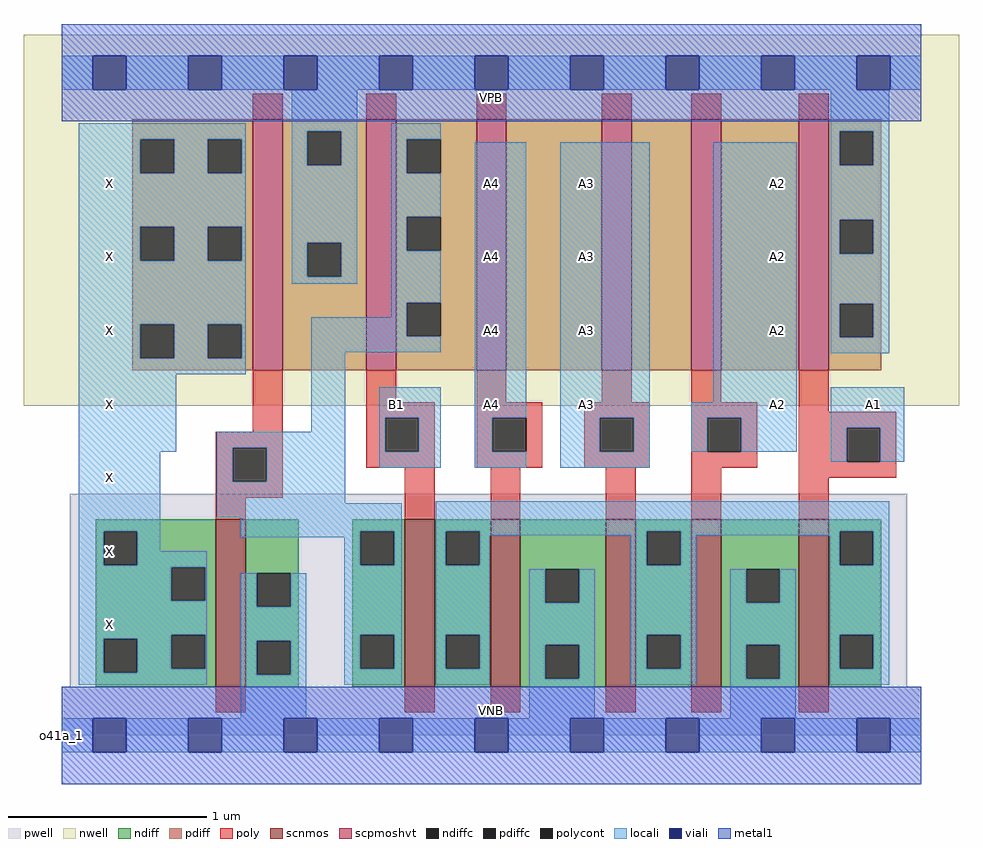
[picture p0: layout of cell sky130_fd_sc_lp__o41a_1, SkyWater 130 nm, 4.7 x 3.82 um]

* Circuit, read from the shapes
.subckt sky130_fd_sc_lp__o41a_1 A1 A2 A3 A4 B1 VGND VNB VPB VPWR X
XM1 VGND n1 X VNB sky130_fd_pr__nfet_01v8 w=0.84 l=0.15
XM2 n2 B1 n1 VNB sky130_fd_pr__nfet_01v8 w=0.84 l=0.15
XM3 VGND A4 n2 VNB sky130_fd_pr__nfet_01v8 w=0.84 l=0.15
XM4 n2 A3 VGND VNB sky130_fd_pr__nfet_01v8 w=0.84 l=0.15
XM5 VGND A2 n2 VNB sky130_fd_pr__nfet_01v8 w=0.84 l=0.15
XM6 n2 A1 VGND VNB sky130_fd_pr__nfet_01v8 w=0.84 l=0.15
XM7 VPWR n1 X VPB sky130_fd_pr__pfet_01v8_hvt w=1.26 l=0.15
XM8 n1 B1 VPWR VPB sky130_fd_pr__pfet_01v8_hvt w=1.26 l=0.15
XM9 n3 A4 n1 VPB sky130_fd_pr__pfet_01v8_hvt w=1.26 l=0.15
XM10 n4 A3 n3 VPB sky130_fd_pr__pfet_01v8_hvt w=1.26 l=0.15
XM11 n5 A2 n4 VPB sky130_fd_pr__pfet_01v8_hvt w=1.26 l=0.15
XM12 VPWR A1 n5 VPB sky130_fd_pr__pfet_01v8_hvt w=1.26 l=0.15
.ends

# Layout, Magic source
magic
tech sky130A
magscale 1 2
<< nwell >>
rect -38 331 902 704
<< pwell >>
rect 8 49 850 243
rect 0 0 864 49
<< scnmos >>
rect 155 49 185 217
rect 345 49 375 217
rect 431 49 461 217
rect 547 49 577 217
rect 633 49 663 217
rect 741 49 771 217
<< scpmoshvt >>
rect 192 367 222 619
rect 306 367 336 619
rect 417 367 447 619
rect 543 367 573 619
rect 633 367 663 619
rect 741 367 771 619
<< ndiff >>
rect 34 205 155 217
rect 34 171 42 205
rect 76 171 155 205
rect 34 169 155 171
rect 34 135 110 169
rect 144 135 155 169
rect 34 101 155 135
rect 34 97 110 101
rect 34 63 42 97
rect 76 67 110 97
rect 144 67 155 101
rect 76 63 155 67
rect 34 49 155 63
rect 185 163 238 217
rect 185 129 196 163
rect 230 129 238 163
rect 185 95 238 129
rect 185 61 196 95
rect 230 61 238 95
rect 185 49 238 61
rect 292 205 345 217
rect 292 171 300 205
rect 334 171 345 205
rect 292 101 345 171
rect 292 67 300 101
rect 334 67 345 101
rect 292 49 345 67
rect 375 205 431 217
rect 375 171 386 205
rect 420 171 431 205
rect 375 101 431 171
rect 375 67 386 101
rect 420 67 431 101
rect 375 49 431 67
rect 461 167 547 217
rect 461 133 486 167
rect 520 133 547 167
rect 461 91 547 133
rect 461 57 486 91
rect 520 57 547 91
rect 461 49 547 57
rect 577 205 633 217
rect 577 171 588 205
rect 622 171 633 205
rect 577 101 633 171
rect 577 67 588 101
rect 622 67 633 101
rect 577 49 633 67
rect 663 167 741 217
rect 663 133 688 167
rect 722 133 741 167
rect 663 91 741 133
rect 663 57 688 91
rect 722 57 741 91
rect 663 49 741 57
rect 771 205 824 217
rect 771 171 782 205
rect 816 171 824 205
rect 771 101 824 171
rect 771 67 782 101
rect 816 67 824 101
rect 771 49 824 67
<< pdiff >>
rect 71 599 192 619
rect 71 565 79 599
rect 113 565 147 599
rect 181 565 192 599
rect 71 511 192 565
rect 71 477 79 511
rect 113 477 147 511
rect 181 477 192 511
rect 71 413 192 477
rect 71 379 79 413
rect 113 379 147 413
rect 181 379 192 413
rect 71 367 192 379
rect 222 607 306 619
rect 222 573 247 607
rect 281 573 306 607
rect 222 495 306 573
rect 222 461 247 495
rect 281 461 306 495
rect 222 367 306 461
rect 336 599 417 619
rect 336 565 347 599
rect 381 565 417 599
rect 336 521 417 565
rect 336 487 347 521
rect 381 487 417 521
rect 336 435 417 487
rect 336 401 347 435
rect 381 401 417 435
rect 336 367 417 401
rect 447 367 543 619
rect 573 367 633 619
rect 663 367 741 619
rect 771 607 824 619
rect 771 573 782 607
rect 816 573 824 607
rect 771 518 824 573
rect 771 484 782 518
rect 816 484 824 518
rect 771 434 824 484
rect 771 400 782 434
rect 816 400 824 434
rect 771 367 824 400
<< ndiffc >>
rect 42 171 76 205
rect 110 135 144 169
rect 42 63 76 97
rect 110 67 144 101
rect 196 129 230 163
rect 196 61 230 95
rect 300 171 334 205
rect 300 67 334 101
rect 386 171 420 205
rect 386 67 420 101
rect 486 133 520 167
rect 486 57 520 91
rect 588 171 622 205
rect 588 67 622 101
rect 688 133 722 167
rect 688 57 722 91
rect 782 171 816 205
rect 782 67 816 101
<< pdiffc >>
rect 79 565 113 599
rect 147 565 181 599
rect 79 477 113 511
rect 147 477 181 511
rect 79 379 113 413
rect 147 379 181 413
rect 247 573 281 607
rect 247 461 281 495
rect 347 565 381 599
rect 347 487 381 521
rect 347 401 381 435
rect 782 573 816 607
rect 782 484 816 518
rect 782 400 816 434
<< poly >>
rect 192 619 222 645
rect 306 619 336 645
rect 417 619 447 645
rect 543 619 573 645
rect 633 619 663 645
rect 741 619 771 645
rect 192 305 222 367
rect 155 289 222 305
rect 155 255 172 289
rect 206 255 222 289
rect 306 335 336 367
rect 417 335 447 367
rect 543 335 573 367
rect 633 335 663 367
rect 306 319 375 335
rect 306 285 325 319
rect 359 285 375 319
rect 306 269 375 285
rect 417 319 483 335
rect 417 285 433 319
rect 467 285 483 319
rect 417 269 483 285
rect 525 319 591 335
rect 525 285 541 319
rect 575 285 591 319
rect 525 269 591 285
rect 633 319 699 335
rect 633 285 649 319
rect 683 285 699 319
rect 633 269 699 285
rect 741 325 771 367
rect 741 309 839 325
rect 741 275 789 309
rect 823 275 839 309
rect 155 239 222 255
rect 155 217 185 239
rect 345 217 375 269
rect 431 217 461 269
rect 547 217 577 269
rect 633 217 663 269
rect 741 259 839 275
rect 741 217 771 259
rect 155 23 185 49
rect 345 23 375 49
rect 431 23 461 49
rect 547 23 577 49
rect 633 23 663 49
rect 741 23 771 49
<< polycont >>
rect 172 255 206 289
rect 325 285 359 319
rect 433 285 467 319
rect 541 285 575 319
rect 649 285 683 319
rect 789 275 823 309
<< locali >>
rect 0 649 31 683
rect 65 649 127 683
rect 161 649 223 683
rect 257 649 319 683
rect 353 649 415 683
rect 449 649 511 683
rect 545 649 607 683
rect 641 649 703 683
rect 737 649 799 683
rect 833 649 864 683
rect 17 599 185 615
rect 17 565 79 599
rect 113 565 147 599
rect 181 565 185 599
rect 17 511 185 565
rect 17 477 79 511
rect 113 477 147 511
rect 181 477 185 511
rect 17 413 185 477
rect 231 607 297 649
rect 231 573 247 607
rect 281 573 297 607
rect 231 495 297 573
rect 231 461 247 495
rect 281 461 297 495
rect 231 454 297 461
rect 331 599 381 615
rect 331 565 347 599
rect 773 607 832 649
rect 331 521 381 565
rect 331 487 347 521
rect 331 435 381 487
rect 331 420 347 435
rect 17 379 79 413
rect 113 379 147 413
rect 181 379 185 413
rect 17 363 185 379
rect 251 401 347 420
rect 251 385 381 401
rect 17 285 115 363
rect 251 305 285 385
rect 156 289 285 305
rect 17 205 99 285
rect 156 255 172 289
rect 206 255 285 289
rect 319 319 381 350
rect 319 285 325 319
rect 359 285 381 319
rect 319 269 381 285
rect 415 319 467 596
rect 415 285 433 319
rect 415 269 467 285
rect 501 319 591 596
rect 655 335 739 596
rect 773 573 782 607
rect 816 573 832 607
rect 773 518 832 573
rect 773 484 782 518
rect 816 484 832 518
rect 773 434 832 484
rect 773 400 782 434
rect 816 400 832 434
rect 773 384 832 400
rect 501 285 541 319
rect 575 285 591 319
rect 633 319 739 335
rect 633 285 649 319
rect 683 285 739 319
rect 773 309 847 350
rect 501 269 591 285
rect 773 275 789 309
rect 823 275 847 309
rect 156 233 285 255
rect 156 219 342 233
rect 17 171 42 205
rect 76 185 99 205
rect 180 205 342 219
rect 180 199 300 205
rect 76 171 146 185
rect 17 169 146 171
rect 17 135 110 169
rect 144 135 146 169
rect 284 171 300 199
rect 334 171 342 205
rect 17 101 146 135
rect 17 97 110 101
rect 17 63 42 97
rect 76 67 110 97
rect 144 67 146 101
rect 76 63 146 67
rect 17 51 146 63
rect 180 129 196 163
rect 230 129 246 163
rect 180 95 246 129
rect 180 61 196 95
rect 230 61 246 95
rect 180 17 246 61
rect 284 101 342 171
rect 284 67 300 101
rect 334 67 342 101
rect 284 51 342 67
rect 376 205 832 235
rect 376 171 386 205
rect 420 201 588 205
rect 420 171 430 201
rect 376 101 430 171
rect 572 171 588 201
rect 622 201 782 205
rect 622 171 638 201
rect 376 67 386 101
rect 420 67 430 101
rect 376 51 430 67
rect 470 133 486 167
rect 520 133 536 167
rect 470 91 536 133
rect 470 57 486 91
rect 520 57 536 91
rect 470 17 536 57
rect 572 101 638 171
rect 772 171 782 201
rect 816 171 832 205
rect 572 67 588 101
rect 622 67 638 101
rect 572 51 638 67
rect 672 133 688 167
rect 722 133 738 167
rect 672 91 738 133
rect 672 57 688 91
rect 722 57 738 91
rect 672 17 738 57
rect 772 101 832 171
rect 772 67 782 101
rect 816 67 832 101
rect 772 51 832 67
rect 0 -17 31 17
rect 65 -17 127 17
rect 161 -17 223 17
rect 257 -17 319 17
rect 353 -17 415 17
rect 449 -17 511 17
rect 545 -17 607 17
rect 641 -17 703 17
rect 737 -17 799 17
rect 833 -17 864 17
<< viali >>
rect 31 649 65 683
rect 127 649 161 683
rect 223 649 257 683
rect 319 649 353 683
rect 415 649 449 683
rect 511 649 545 683
rect 607 649 641 683
rect 703 649 737 683
rect 799 649 833 683
rect 31 -17 65 17
rect 127 -17 161 17
rect 223 -17 257 17
rect 319 -17 353 17
rect 415 -17 449 17
rect 511 -17 545 17
rect 607 -17 641 17
rect 703 -17 737 17
rect 799 -17 833 17
<< metal1 >>
rect 0 683 864 715
rect 0 649 31 683
rect 65 649 127 683
rect 161 649 223 683
rect 257 649 319 683
rect 353 649 415 683
rect 449 649 511 683
rect 545 649 607 683
rect 641 649 703 683
rect 737 649 799 683
rect 833 649 864 683
rect 0 617 864 649
rect 0 17 864 49
rect 0 -17 31 17
rect 65 -17 127 17
rect 161 -17 223 17
rect 257 -17 319 17
rect 353 -17 415 17
rect 449 -17 511 17
rect 545 -17 607 17
rect 641 -17 703 17
rect 737 -17 799 17
rect 833 -17 864 17
rect 0 -49 864 -17
<< labels >>
flabel pwell s 0 0 864 49 0 FreeSans 200 0 0 0 VNB
port 7 nsew ground bidirectional
flabel nwell s 0 617 864 666 0 FreeSans 200 0 0 0 VPB
port 8 nsew power bidirectional
rlabel comment s 0 0 0 0 4 o41a_1
flabel metal1 s 0 617 864 666 0 FreeSans 340 0 0 0 VPWR
port 9 nsew power bidirectional
flabel metal1 s 0 0 864 49 0 FreeSans 340 0 0 0 VGND
port 6 nsew ground bidirectional
flabel locali s 703 316 737 350 0 FreeSans 340 0 0 0 A2
port 2 nsew signal input
flabel locali s 703 390 737 424 0 FreeSans 340 0 0 0 A2
port 2 nsew signal input
flabel locali s 703 464 737 498 0 FreeSans 340 0 0 0 A2
port 2 nsew signal input
flabel locali s 703 538 737 572 0 FreeSans 340 0 0 0 A2
port 2 nsew signal input
flabel locali s 511 316 545 350 0 FreeSans 340 0 0 0 A3
port 3 nsew signal input
flabel locali s 511 390 545 424 0 FreeSans 340 0 0 0 A3
port 3 nsew signal input
flabel locali s 511 464 545 498 0 FreeSans 340 0 0 0 A3
port 3 nsew signal input
flabel locali s 511 538 545 572 0 FreeSans 340 0 0 0 A3
port 3 nsew signal input
flabel locali s 415 316 449 350 0 FreeSans 340 0 0 0 A4
port 4 nsew signal input
flabel locali s 415 390 449 424 0 FreeSans 340 0 0 0 A4
port 4 nsew signal input
flabel locali s 415 464 449 498 0 FreeSans 340 0 0 0 A4
port 4 nsew signal input
flabel locali s 415 538 449 572 0 FreeSans 340 0 0 0 A4
port 4 nsew signal input
flabel locali s 31 94 65 128 0 FreeSans 340 0 0 0 X
port 10 nsew signal output
flabel locali s 31 168 65 202 0 FreeSans 340 0 0 0 X
port 10 nsew signal output
flabel locali s 31 242 65 276 0 FreeSans 340 0 0 0 X
port 10 nsew signal output
flabel locali s 31 316 65 350 0 FreeSans 340 0 0 0 X
port 10 nsew signal output
flabel locali s 31 390 65 424 0 FreeSans 340 0 0 0 X
port 10 nsew signal output
flabel locali s 31 464 65 498 0 FreeSans 340 0 0 0 X
port 10 nsew signal output
flabel locali s 31 538 65 572 0 FreeSans 340 0 0 0 X
port 10 nsew signal output
flabel locali s 799 316 833 350 0 FreeSans 340 0 0 0 A1
port 1 nsew signal input
flabel locali s 319 316 353 350 0 FreeSans 340 0 0 0 B1
port 5 nsew signal input
<< properties >>
string LEFsite unit
string LEFclass CORE
string FIXED_BBOX 0 0 864 666
string GDS_FILE $PDKPATH/libs.ref/sky130_fd_sc_lp/gds/sky130_fd_sc_lp.gds
string LEFsymmetry X Y R90
string GDS_END 492572
string GDS_START 483194
<< end >>
